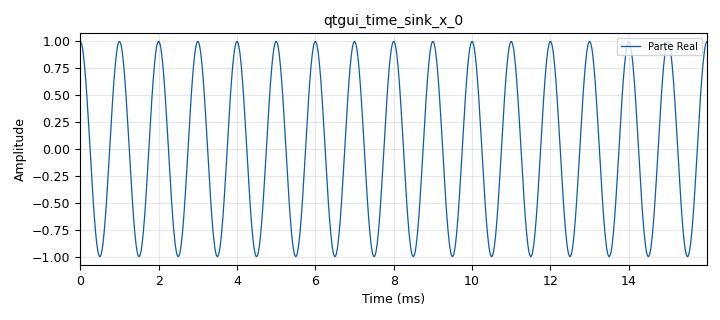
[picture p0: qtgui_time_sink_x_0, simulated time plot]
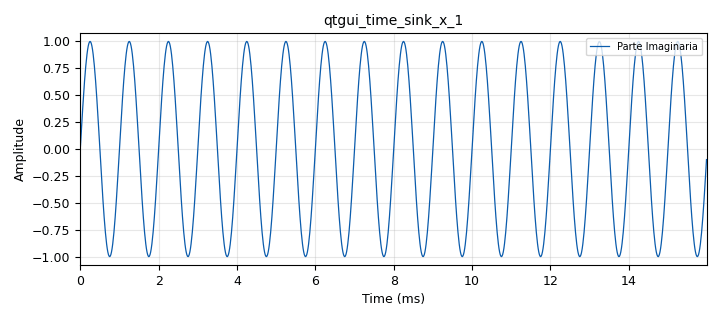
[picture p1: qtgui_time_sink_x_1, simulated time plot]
options:
  parameters:
    generate_options: qt_gui
    id: default
    output_language: python
    title: Not titled yet
  states: {}

blocks:
- name: samp_rate
  id: variable
  parameters:
    value: '32000'
  states: {}
- name: analog_sig_source_x_0
  id: analog_sig_source_x
  parameters:
    amp: '1'
    freq: '1000'
    offset: '0'
    phase: '0'
    samp_rate: '64000'
    type: complex
    waveform: analog.GR_SIN_WAVE
  states: {}
- name: blocks_complex_to_float_0
  id: blocks_complex_to_float
  parameters: {}
  states: {}
- name: qtgui_time_sink_x_0
  id: qtgui_time_sink_x
  parameters:
    label1: Parte Real
    size: '1024'
    srate: '64000'
    type: float
  states: {}
- name: qtgui_time_sink_x_1
  id: qtgui_time_sink_x
  parameters:
    color1: red
    label1: Parte Imaginaria
    size: '1024'
    srate: '64000'
    type: float
  states: {}

connections:
- [analog_sig_source_x_0, '0', blocks_complex_to_float_0, '0']
- [blocks_complex_to_float_0, '0', qtgui_time_sink_x_0, '0']
- [blocks_complex_to_float_0, '1', qtgui_time_sink_x_1, '0']

metadata:
  file_format: 1
  grc_version: 3.10.12.0
